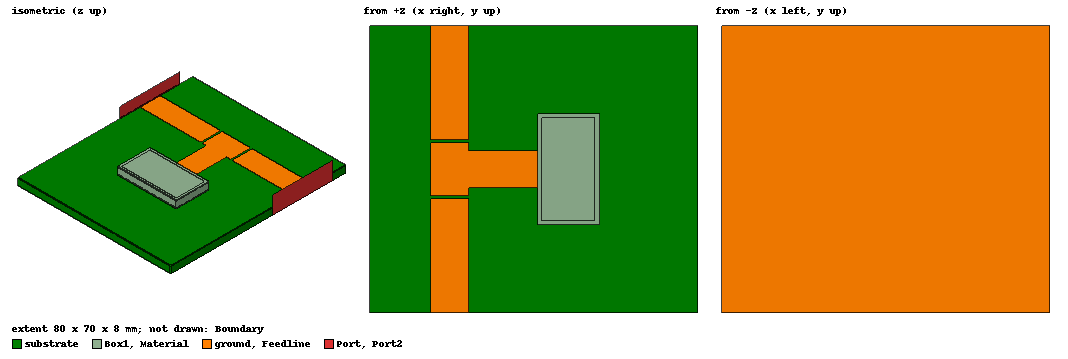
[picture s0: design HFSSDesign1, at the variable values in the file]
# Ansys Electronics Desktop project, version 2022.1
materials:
  vacuum: permittivity=1
  FR4_epoxy: permittivity=4.4 dielectric_loss_tangent=0.02
  air: permittivity=1.0006 permeability=1.0000004
  pec: conductivity=1e+30
  er: permittivity=3 dielectric_loss_tangent=0.0012
  Material1: permittivity=4.5 dielectric_loss_tangent=0.012
  Rogers RT/duroid 5880 (tm): permittivity=2.2 dielectric_loss_tangent=0.0009
  Rogers RT/duroid 5870 (tm): permittivity=2.33 dielectric_loss_tangent=0.0012
  Teflon (tm): permittivity=2.1 dielectric_loss_tangent=0.001
  Material2: permittivity=3 dielectric_loss_tangent=0.003
  copper: permeability=0.999991 conductivity=58000000
  Material3: permittivity=2.2 dielectric_loss_tangent=0.0004
  Material4: permittivity=2.4 dielectric_loss_tangent=0.0005
  Material5: permeability=2.35 dielectric_loss_tangent=0.0005
  Material6: permittivity=2.32 dielectric_loss_tangent=0.0004
  Material7: permittivity=2.335 dielectric_loss_tangent=0.0004
  Material8: permittivity=2.313 dielectric_loss_tangent=0.0004
  Material9: permittivity=2.3 dielectric_loss_tangent=0.0004
  Material10: permittivity=2.4 dielectric_loss_tangent=0.0004
  Material11: permittivity=2.4 dielectric_loss_tangent=0.0004
  Material12: permittivity=2.5 dielectric_loss_tangent=0.0004
  Material13: permittivity=2.45 dielectric_loss_tangent=0.0004
  Material14: permittivity=2.37 dielectric_loss_tangent=0.0004
  Material15: permittivity=2.22 dielectric_loss_tangent=0.0004
  Material16: permittivity=2.3 dielectric_loss_tangent=0.0004
  Material17: permittivity=2.35 dielectric_loss_tangent=0.0004
  Material18: permittivity=2.45 dielectric_loss_tangent=0.0004
  Material19: permittivity=2.45 dielectric_loss_tangent=0.00043
  Material20: permittivity=2.452 dielectric_loss_tangent=0.00041
  Material21: permittivity=2.456 dielectric_loss_tangent=0.00042
  Material22: permittivity=2.36 dielectric_loss_tangent=0.00042
  Material23: permittivity=2.45 dielectric_loss_tangent=0.00039
  Material24: permittivity=2.45 dielectric_loss_tangent=0.00038
  Material25: permittivity=2.455 dielectric_loss_tangent=0.00038
  Material26: permittivity=2.45 dielectric_loss_tangent=0.0006
  Material27: permittivity=2.45 dielectric_loss_tangent=0.0007
  Material28: permittivity=2.35
  Material29: permittivity=2.35 dielectric_loss_tangent=0.0007
  Material30: permittivity=2.3 dielectric_loss_tangent=0.00035
  Material31: permittivity=2.25 dielectric_loss_tangent=0.0004
  Material32: permittivity=2 dielectric_loss_tangent=0.0004
  Material33: permittivity=1.9 dielectric_loss_tangent=0.0004
  Material34: permittivity=2.2 dielectric_loss_tangent=0.09
  Material35: permittivity=2.2 dielectric_loss_tangent=0.09
  Material36: permittivity=1.5 dielectric_loss_tangent=0.0004
  Material37: permittivity=2.1 dielectric_loss_tangent=0.082
  Material38: permittivity=2.1 dielectric_loss_tangent=0.08
  Material39: permittivity=2.1 dielectric_loss_tangent=0.075
  Material40: permittivity=2.2 dielectric_loss_tangent=0.07
  Material41: permittivity=2.3 dielectric_loss_tangent=0.05
  Material42: permittivity=2.2 dielectric_loss_tangent=0.03
  Material43: permittivity=2.2 dielectric_loss_tangent=0.00038
  Material44: permittivity=2.2 dielectric_loss_tangent=0.0004
  Material45: permittivity=2.2 dielectric_loss_tangent=0.0004
  Material46: permittivity=2.15 dielectric_loss_tangent=0.0004
  Material47: permittivity=2.1 dielectric_loss_tangent=0.0004
  Material48: permittivity=1.9 dielectric_loss_tangent=0.0004
  Material49: permittivity=1.5 dielectric_loss_tangent=0.007
  Material50: permittivity=2 dielectric_loss_tangent=0.0004
  Material51: permittivity=1.5 dielectric_loss_tangent=0.0007
  Material52: permittivity=1.5 dielectric_loss_tangent=0.0003
  Material53: permittivity=1.5 dielectric_loss_tangent=0.0001
  Material54: permittivity=1.5 dielectric_loss_tangent=0.15
  Material55: permittivity=1.4 dielectric_loss_tangent=0.02
  Material56: permittivity=1.4 dielectric_loss_tangent=0.02
  Material57: permittivity=1.9 dielectric_loss_tangent=0.0004
  Material58
  Material59: permittivity=1.8 dielectric_loss_tangent=0.0004
  Material60: permittivity=1.7 dielectric_loss_tangent=0.0001
  Material61: permittivity=1.8 dielectric_loss_tangent=0.0001
  Material62: permittivity=1.4 dielectric_loss_tangent=0.02
  Material63: permittivity=2.5 dielectric_loss_tangent=0.02
  Material64: permittivity=2.3
  Material65: permittivity=2.3 dielectric_loss_tangent=0.02
  Material66: permittivity=2.1 dielectric_loss_tangent=0.02
  Material67: permittivity=1.5 dielectric_loss_tangent=0.02
  Material68: permittivity=2.2 dielectric_loss_tangent=0.03
  Material69: permittivity=2.2 dielectric_loss_tangent=0.04
  Material70: permittivity=2.2 dielectric_loss_tangent=0.035
  Material71: permittivity=2.1 dielectric_loss_tangent=0.0004
  Material72: permittivity=1.8 dielectric_loss_tangent=0.0001
  Material73: permittivity=1.9 dielectric_loss_tangent=0.0001
  Material74: permittivity=1.5 dielectric_loss_tangent=0.02
  Material75: permittivity=1.45 dielectric_loss_tangent=0.02
  Material76: permittivity=1.4 dielectric_loss_tangent=0.02
  Material77: permittivity=1.5 dielectric_loss_tangent=0.02
  Material78: permittivity=1.4 dielectric_loss_tangent=0.02

design HFSSDesign1 (HFSS, DrivenTerminal, model units mm)
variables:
  substrate_L = 80mm  # Subtrate Length in X Direction
  substrate_W = 70mm  # Substrate Width in Y Direction
  strip_1L = 18.62mm  # Line 1 Length
  shift = 21.24mm  # shift in position of all lines on the feedline
  mid = 3mm
  ax = 15mm
  az = 3.18mm
  w50 = 9.18mm
  t = 3mm
  gap = 0.7mm
  azd = 3mm
  cin = 27.8mm
  WS = 5mm
  zzz = 8mm
  bx = 13mm
  xs = 0.8mm
  wt = 1mm
  bx2 = 12.5mm
  bx3 = 3.16mm
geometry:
  ground = rectangle(corner=(0mm, 0mm, 0mm), x_size=substrate_L, y_size=substrate_W)
  substrate [Rogers RT/duroid 5870 (tm)] = box(corner=(0mm, 0mm, 0mm), size=(substrate_L, substrate_W, az))
  Feedline = rectangle(corner=(ax, 0mm, az), x_size=w50, y_size=substrate_W)
  Port = rectangle(corner=(ax-w50, substrate_W, 0mm), z_size=8mm, x_size=3*w50)
  Port2 = rectangle(corner=(ax-w50, 0mm, 0mm), z_size=8mm, x_size=3*w50)
  Boundary [air] = box(corner=(substrate_L +10mm, -10mm, -30mm), size=(-substrate_L-20mm, substrate_W+20mm, 60mm))
  leftLine = rectangle(corner=(ax, shift+w50, az), x_size=strip_1L+w50, y_size=w50)
  Feedline1 = rectangle(corner=(ax, shift+w50, az), x_size=w50, y_size=mid)
  Feedline2 = rectangle(corner=(ax, cin, az), x_size=w50, y_size=gap)
  Feedline3 = rectangle(corner=(ax, substrate_W-cin, az), x_size=w50, y_size=-gap)
  Feedline.subtract(Feedline1, Feedline2, Feedline3)
  Feedline.unite(leftLine)
  Box1 [Rogers RT/duroid 5870 (tm)] = box(corner=(ax+strip_1L+w50-xs-wt, shift+w50+w50/2-bx2-wt, az), size=(bx+2*wt, 2*bx2+2*wt, bx3))
  Material [Material78] = box(corner=(ax+strip_1L+w50-xs, shift+w50+w50/2-bx2, az), size=(bx, 2*bx2, bx3))
  Box2_1 = Material.copy()
  Box1.subtract(Box2_1)
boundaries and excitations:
  Rad1: Radiation Objects=Boundary
  FiniteCond1: Finite Conductivity Objects=Feedline Conductivity=30000000 Permeability=1 IsInternal
  FiniteCond2: Finite Conductivity Objects=ground Conductivity=40000000 Permeability=1 IsInternal
  ground_T1: Terminal port=1 Edges=ground.edge(y at corner) TerminalResistance=50ohm
  ground_T2: Terminal port=2 Edges=ground.edge(y opposite corner) TerminalResistance=50ohm
  1: Lumped Port Faces=Port2.face(at (19.59, 0, 4)) Impedance=50ohm
  2: Lumped Port Faces=Port.face(at (19.59, 70, 4)) Impedance=50ohm
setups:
  Setup1: HfssDriven Frequency=1GHz MaxDeltaS=0.02 MaximumPasses=16 MinimumPasses=10 MinimumConvergedPasses=5 PercentRefinement=30 BasisOrder=1 PortAccuracy=2 DrivenSolverType="Direct Solver"
    sweep Sweep: 2GHz to 3.5GHz step 0.002GHz; Type=Fast SaveFields
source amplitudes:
  1:1: 1V 0deg
  2:1: 0V 0deg
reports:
  Terminal S Parameter Plot 1: dB(St(ground_T2,ground_T1)) vs Freq on Setup1 : Sweep; markers m1 at 3.048GHz, m3 at 3.026GHz, m4 at 3.058GHz
